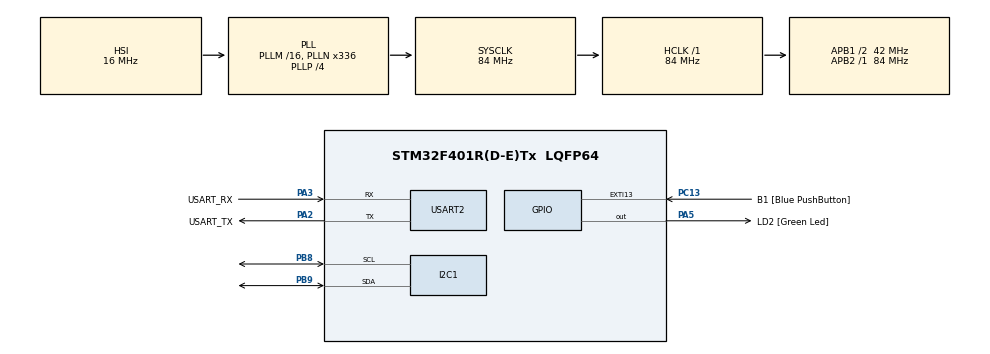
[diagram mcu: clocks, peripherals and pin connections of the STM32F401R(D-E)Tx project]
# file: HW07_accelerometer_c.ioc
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Dma.I2C1_RX.0.Direction=DMA_PERIPH_TO_MEMORY
Dma.I2C1_RX.0.FIFOMode=DMA_FIFOMODE_DISABLE
Dma.I2C1_RX.0.Instance=DMA1_Stream0
Dma.I2C1_RX.0.MemDataAlignment=DMA_MDATAALIGN_BYTE
Dma.I2C1_RX.0.MemInc=DMA_MINC_ENABLE
Dma.I2C1_RX.0.Mode=DMA_NORMAL
Dma.I2C1_RX.0.PeriphDataAlignment=DMA_PDATAALIGN_BYTE
Dma.I2C1_RX.0.PeriphInc=DMA_PINC_DISABLE
Dma.I2C1_RX.0.Priority=DMA_PRIORITY_LOW
Dma.Request0=I2C1_RX
Dma.Request1=USART2_TX
Dma.USART2_TX.1.Direction=DMA_MEMORY_TO_PERIPH
Dma.USART2_TX.1.FIFOMode=DMA_FIFOMODE_DISABLE
Dma.USART2_TX.1.Instance=DMA1_Stream6
Dma.USART2_TX.1.MemDataAlignment=DMA_MDATAALIGN_BYTE
Dma.USART2_TX.1.MemInc=DMA_MINC_ENABLE
Dma.USART2_TX.1.Mode=DMA_NORMAL
Dma.USART2_TX.1.PeriphDataAlignment=DMA_PDATAALIGN_BYTE
Dma.USART2_TX.1.PeriphInc=DMA_PINC_DISABLE
Dma.USART2_TX.1.Priority=DMA_PRIORITY_LOW
Mcu.Family=STM32F4
Mcu.Name=STM32F401R(D-E)Tx
Mcu.Package=LQFP64
NVIC.DMA1_Stream0_IRQn=true\:0\:0\:false\:false\:true\:false\:true\:true
NVIC.DMA1_Stream6_IRQn=true\:0\:0\:false\:false\:true\:false\:true\:true
NVIC.I2C1_EV_IRQn=true\:0\:0\:false\:false\:true\:true\:true\:true
NVIC.PriorityGroup=NVIC_PRIORITYGROUP_0
NVIC.TIM2_IRQn=true\:0\:0\:false\:false\:true\:true\:true\:true
NVIC.USART2_IRQn=true\:0\:0\:false\:false\:true\:true\:true\:true
PA13.GPIO_Label=TMS
PA13.Mode=Serial_Wire
PA13.Signal=SYS_JTMS-SWDIO
PA14.GPIO_Label=TCK
PA14.Mode=Serial_Wire
PA14.Signal=SYS_JTCK-SWCLK
PA2.GPIO_Label=USART_TX
PA2.GPIO_Mode=GPIO_MODE_AF_PP
PA2.GPIO_PuPd=GPIO_NOPULL
PA2.GPIO_Speed=GPIO_SPEED_FREQ_LOW
PA2.Mode=Asynchronous
PA2.Signal=USART2_TX
PA3.GPIO_Label=USART_RX
PA3.GPIO_Mode=GPIO_MODE_AF_PP
PA3.GPIO_PuPd=GPIO_NOPULL
PA3.GPIO_Speed=GPIO_SPEED_FREQ_LOW
PA3.Mode=Asynchronous
PA3.Signal=USART2_RX
PA5.GPIO_Label=LD2 [Green Led]
PA5.GPIO_Mode=GPIO_MODE_OUTPUT_PP
PA5.GPIO_PuPd=GPIO_NOPULL
PA5.GPIO_Speed=GPIO_SPEED_FREQ_LOW
PA5.Signal=GPIO_Output
PB3.GPIO_Label=SWO
PB3.Signal=SYS_JTDO-SWO
PB8.Mode=I2C
PB8.Signal=I2C1_SCL
PB9.Mode=I2C
PB9.Signal=I2C1_SDA
PC13-ANTI_TAMP.GPIO_Label=B1 [Blue PushButton]
PC13-ANTI_TAMP.GPIO_ModeDefaultEXTI=GPIO_MODE_IT_FALLING
PC13-ANTI_TAMP.GPIO_PuPd=GPIO_NOPULL
PC13-ANTI_TAMP.Signal=GPXTI13
PC14-OSC32_IN.Mode=LSE-External-Oscillator
PC14-OSC32_IN.Signal=RCC_OSC32_IN
PC15-OSC32_OUT.Mode=LSE-External-Oscillator
PC15-OSC32_OUT.Signal=RCC_OSC32_OUT
PH0\ -\ OSC_IN.Mode=HSE-External-Clock-Source
PH0\ -\ OSC_IN.Signal=RCC_OSC_IN
PH1\ -\ OSC_OUT.Mode=HSE-External-Clock-Source
PH1\ -\ OSC_OUT.Signal=RCC_OSC_OUT
ProjectManager.HeapSize=0x200
ProjectManager.StackSize=0x400
ProjectManager.TargetToolchain=STM32CubeIDE
RCC.48MHZClocksFreq_Value=48000000
RCC.AHBFreq_Value=84000000
RCC.APB1CLKDivider=RCC_HCLK_DIV2
RCC.APB1Freq_Value=42000000
RCC.APB1TimFreq_Value=84000000
RCC.APB2Freq_Value=84000000
RCC.APB2TimFreq_Value=84000000
RCC.CortexFreq_Value=84000000
RCC.HCLKFreq_Value=84000000
RCC.HSE_VALUE=8000000
RCC.HSI_VALUE=16000000
RCC.PLLN=336
RCC.PLLP=RCC_PLLP_DIV4
RCC.PLLQ=7
RCC.SYSCLKFreq_VALUE=84000000
RCC.SYSCLKSource=RCC_SYSCLKSOURCE_PLLCLK
RCC.VCOOutputFreq_Value=336000000
TIM2.Period=10000-1
TIM2.Prescaler=8400-1
USART2.VirtualMode=VM_ASYNC
VP_TIM2_VS_ClockSourceINT.Mode=Internal
board=NUCLEO-F401RE

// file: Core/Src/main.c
/* USER CODE BEGIN Header */
/**
 ******************************************************************************
 * @file           : main.c
 * @brief          : Main program body
 ******************************************************************************
 * @attention
 *
 * Copyright (c) 2022 STMicroelectronics.
 * All rights reserved.
 *
 * This software is licensed under terms that can be found in the LICENSE file
 * in the root directory of this software component.
 * If no LICENSE file comes with this software, it is provided AS-IS.
 *
 ******************************************************************************
 */
/* USER CODE END Header */
#include "main.h"

I2C_HandleTypeDef hi2c1;
DMA_HandleTypeDef hdma_i2c1_rx;

TIM_HandleTypeDef htim2;

UART_HandleTypeDef huart2;
DMA_HandleTypeDef hdma_usart2_tx;

void SystemClock_Config(void);
static void MX_GPIO_Init(void);
static void MX_DMA_Init(void);
static void MX_USART2_UART_Init(void);
static void MX_TIM2_Init(void);
static void MX_I2C1_Init(void);

/* USER CODE BEGIN 0 */
uint8_t LIS2DE_ADDRESS = 0b01010000;
uint8_t LIS2DE12_ADDRESS = 0b00110000;
// Registers configuration
uint8_t CTRL_REG1[] = {0x20, 0b00010111};
uint8_t CTRL_REG2[] = {0x21, 0b00000000};
uint8_t CTRL_REG4[] = {0x23, 0b00000000};

// Output values registers' addresses
uint8_t OUT_X_ADD = 0b10000000 | 0x29;

int len = 0;
char str[64];

int8_t accelerazione[5];

void HAL_TIM_PeriodElapsedCallback(TIM_HandleTypeDef *htim)
{
	if(HAL_I2C_Master_Transmit(&hi2c1, LIS2DE_ADDRESS, &OUT_X_ADD,1,50) == HAL_OK) {
		HAL_I2C_Master_Receive_DMA(&hi2c1, LIS2DE_ADDRESS+1, &accelerazione, 5);
	}
}
void HAL_I2C_MasterRxCpltCallback(I2C_HandleTypeDef *hi2c)
{

	float acc_x = accelerazione[0]/64.0;
	float acc_y = accelerazione[2]/64.0;
	float acc_z = accelerazione[4]/64.0;

	len = snprintf(str, sizeof(str), "X: %+.2fg Y: %+.2fg Z: %+.2fg\n", acc_x,acc_y,acc_z);
	HAL_UART_Transmit_DMA(&huart2, str, len);

}
/* USER CODE END 0 */

int main(void)
{

  /* MCU Configuration--------------------------------------------------------*/

  /* Reset of all peripherals, Initializes the Flash interface and the Systick. */
  HAL_Init();

  /* Configure the system clock */
  SystemClock_Config();

  /* Initialize all configured peripherals */
  MX_GPIO_Init();
  MX_DMA_Init();
  MX_USART2_UART_Init();
  MX_TIM2_Init();
  MX_I2C1_Init();
  /* USER CODE BEGIN 2 */
	//sensor initialization
	char init_ok;
	if(HAL_I2C_Master_Transmit(&hi2c1, LIS2DE_ADDRESS, CTRL_REG1, 2, 50) == HAL_OK){
		len = snprintf(str, sizeof(str), "LIS2DE detected\n");
		init_ok = 1;
	}else{
		// Try with LIS2DE12
		LIS2DE_ADDRESS = LIS2DE12_ADDRESS;
		if (HAL_I2C_Master_Transmit(&hi2c1, LIS2DE_ADDRESS , CTRL_REG1, 2, 50) == HAL_OK){
			len = snprintf(str, sizeof(str), "LIS2DE12 detected\n");
			init_ok = 1;
		}else{
			// Error in initialization
			len = snprintf(str, sizeof(str), "Init Error\n");
			init_ok=0;
		}
	}

	HAL_UART_Transmit(&huart2, str, len*sizeof(char), 100);

	if (init_ok){
		HAL_I2C_Master_Transmit(&hi2c1,LIS2DE_ADDRESS, CTRL_REG2, sizeof(CTRL_REG2), 50);
		HAL_I2C_Master_Transmit(&hi2c1,LIS2DE_ADDRESS, CTRL_REG4, sizeof(CTRL_REG4), 50);
		HAL_TIM_Base_Start_IT(&htim2);
	}
  /* USER CODE END 2 */

  /* Infinite loop */
	while (1)
	{

	}
}

void SystemClock_Config(void)
{
  RCC_OscInitTypeDef RCC_OscInitStruct = {0};
  RCC_ClkInitTypeDef RCC_ClkInitStruct = {0};

  /** Configure the main internal regulator output voltage
  */
  __HAL_RCC_PWR_CLK_ENABLE();
  __HAL_PWR_VOLTAGESCALING_CONFIG(PWR_REGULATOR_VOLTAGE_SCALE2);

  /** Initializes the RCC Oscillators according to the specified parameters
  * in the RCC_OscInitTypeDef structure.
  */
  RCC_OscInitStruct.OscillatorType = RCC_OSCILLATORTYPE_HSI;
  RCC_OscInitStruct.HSIState = RCC_HSI_ON;
  RCC_OscInitStruct.HSICalibrationValue = RCC_HSICALIBRATION_DEFAULT;
  RCC_OscInitStruct.PLL.PLLState = RCC_PLL_ON;
  RCC_OscInitStruct.PLL.PLLSource = RCC_PLLSOURCE_HSI;
  RCC_OscInitStruct.PLL.PLLM = 16;
  RCC_OscInitStruct.PLL.PLLN = 336;
  RCC_OscInitStruct.PLL.PLLP = RCC_PLLP_DIV4;
  RCC_OscInitStruct.PLL.PLLQ = 7;
  if (HAL_RCC_OscConfig(&RCC_OscInitStruct) != HAL_OK)
  {
    Error_Handler();
  }

  /** Initializes the CPU, AHB and APB buses clocks
  */
  RCC_ClkInitStruct.ClockType = RCC_CLOCKTYPE_HCLK|RCC_CLOCKTYPE_SYSCLK
                              |RCC_CLOCKTYPE_PCLK1|RCC_CLOCKTYPE_PCLK2;
  RCC_ClkInitStruct.SYSCLKSource = RCC_SYSCLKSOURCE_PLLCLK;
  RCC_ClkInitStruct.AHBCLKDivider = RCC_SYSCLK_DIV1;
  RCC_ClkInitStruct.APB1CLKDivider = RCC_HCLK_DIV2;
  RCC_ClkInitStruct.APB2CLKDivider = RCC_HCLK_DIV1;

  if (HAL_RCC_ClockConfig(&RCC_ClkInitStruct, FLASH_LATENCY_2) != HAL_OK)
  {
    Error_Handler();
  }
}

static void MX_I2C1_Init(void)
{

  hi2c1.Instance = I2C1;
  hi2c1.Init.ClockSpeed = 100000;
  hi2c1.Init.DutyCycle = I2C_DUTYCYCLE_2;
  hi2c1.Init.OwnAddress1 = 0;
  hi2c1.Init.AddressingMode = I2C_ADDRESSINGMODE_7BIT;
  hi2c1.Init.DualAddressMode = I2C_DUALADDRESS_DISABLE;
  hi2c1.Init.OwnAddress2 = 0;
  hi2c1.Init.GeneralCallMode = I2C_GENERALCALL_DISABLE;
  hi2c1.Init.NoStretchMode = I2C_NOSTRETCH_DISABLE;
  if (HAL_I2C_Init(&hi2c1) != HAL_OK)
  {
    Error_Handler();
  }

}

static void MX_TIM2_Init(void)
{

  TIM_ClockConfigTypeDef sClockSourceConfig = {0};
  TIM_MasterConfigTypeDef sMasterConfig = {0};

  htim2.Instance = TIM2;
  htim2.Init.Prescaler = 8400-1;
  htim2.Init.CounterMode = TIM_COUNTERMODE_UP;
  htim2.Init.Period = 10000-1;
  htim2.Init.ClockDivision = TIM_CLOCKDIVISION_DIV1;
  htim2.Init.AutoReloadPreload = TIM_AUTORELOAD_PRELOAD_DISABLE;
  if (HAL_TIM_Base_Init(&htim2) != HAL_OK)
  {
    Error_Handler();
  }
  sClockSourceConfig.ClockSource = TIM_CLOCKSOURCE_INTERNAL;
  if (HAL_TIM_ConfigClockSource(&htim2, &sClockSourceConfig) != HAL_OK)
  {
    Error_Handler();
  }
  sMasterConfig.MasterOutputTrigger = TIM_TRGO_RESET;
  sMasterConfig.MasterSlaveMode = TIM_MASTERSLAVEMODE_DISABLE;
  if (HAL_TIMEx_MasterConfigSynchronization(&htim2, &sMasterConfig) != HAL_OK)
  {
    Error_Handler();
  }

}

static void MX_USART2_UART_Init(void)
{

  huart2.Instance = USART2;
  huart2.Init.BaudRate = 115200;
  huart2.Init.WordLength = UART_WORDLENGTH_8B;
  huart2.Init.StopBits = UART_STOPBITS_1;
  huart2.Init.Parity = UART_PARITY_NONE;
  huart2.Init.Mode = UART_MODE_TX_RX;
  huart2.Init.HwFlowCtl = UART_HWCONTROL_NONE;
  huart2.Init.OverSampling = UART_OVERSAMPLING_16;
  if (HAL_UART_Init(&huart2) != HAL_OK)
  {
    Error_Handler();
  }

}

static void MX_DMA_Init(void)
{

  /* DMA controller clock enable */
  __HAL_RCC_DMA1_CLK_ENABLE();

  /* DMA interrupt init */
  /* DMA1_Stream0_IRQn interrupt configuration */
  HAL_NVIC_SetPriority(DMA1_Stream0_IRQn, 0, 0);
  HAL_NVIC_EnableIRQ(DMA1_Stream0_IRQn);
  /* DMA1_Stream6_IRQn interrupt configuration */
  HAL_NVIC_SetPriority(DMA1_Stream6_IRQn, 0, 0);
  HAL_NVIC_EnableIRQ(DMA1_Stream6_IRQn);

}

static void MX_GPIO_Init(void)
{
  GPIO_InitTypeDef GPIO_InitStruct = {0};

  /* GPIO Ports Clock Enable */
  __HAL_RCC_GPIOC_CLK_ENABLE();
  __HAL_RCC_GPIOH_CLK_ENABLE();
  __HAL_RCC_GPIOA_CLK_ENABLE();
  __HAL_RCC_GPIOB_CLK_ENABLE();

  /*Configure GPIO pin Output Level */
  HAL_GPIO_WritePin(LD2_GPIO_Port, LD2_Pin, GPIO_PIN_RESET);

  /*Configure GPIO pin : B1_Pin */
  GPIO_InitStruct.Pin = B1_Pin;
  GPIO_InitStruct.Mode = GPIO_MODE_IT_FALLING;
  GPIO_InitStruct.Pull = GPIO_NOPULL;
  HAL_GPIO_Init(B1_GPIO_Port, &GPIO_InitStruct);

  /*Configure GPIO pin : LD2_Pin */
  GPIO_InitStruct.Pin = LD2_Pin;
  GPIO_InitStruct.Mode = GPIO_MODE_OUTPUT_PP;
  GPIO_InitStruct.Pull = GPIO_NOPULL;
  GPIO_InitStruct.Speed = GPIO_SPEED_FREQ_LOW;
  HAL_GPIO_Init(LD2_GPIO_Port, &GPIO_InitStruct);

}

void Error_Handler(void)
{
	__disable_irq();
	while (1)
	{
	}
}
